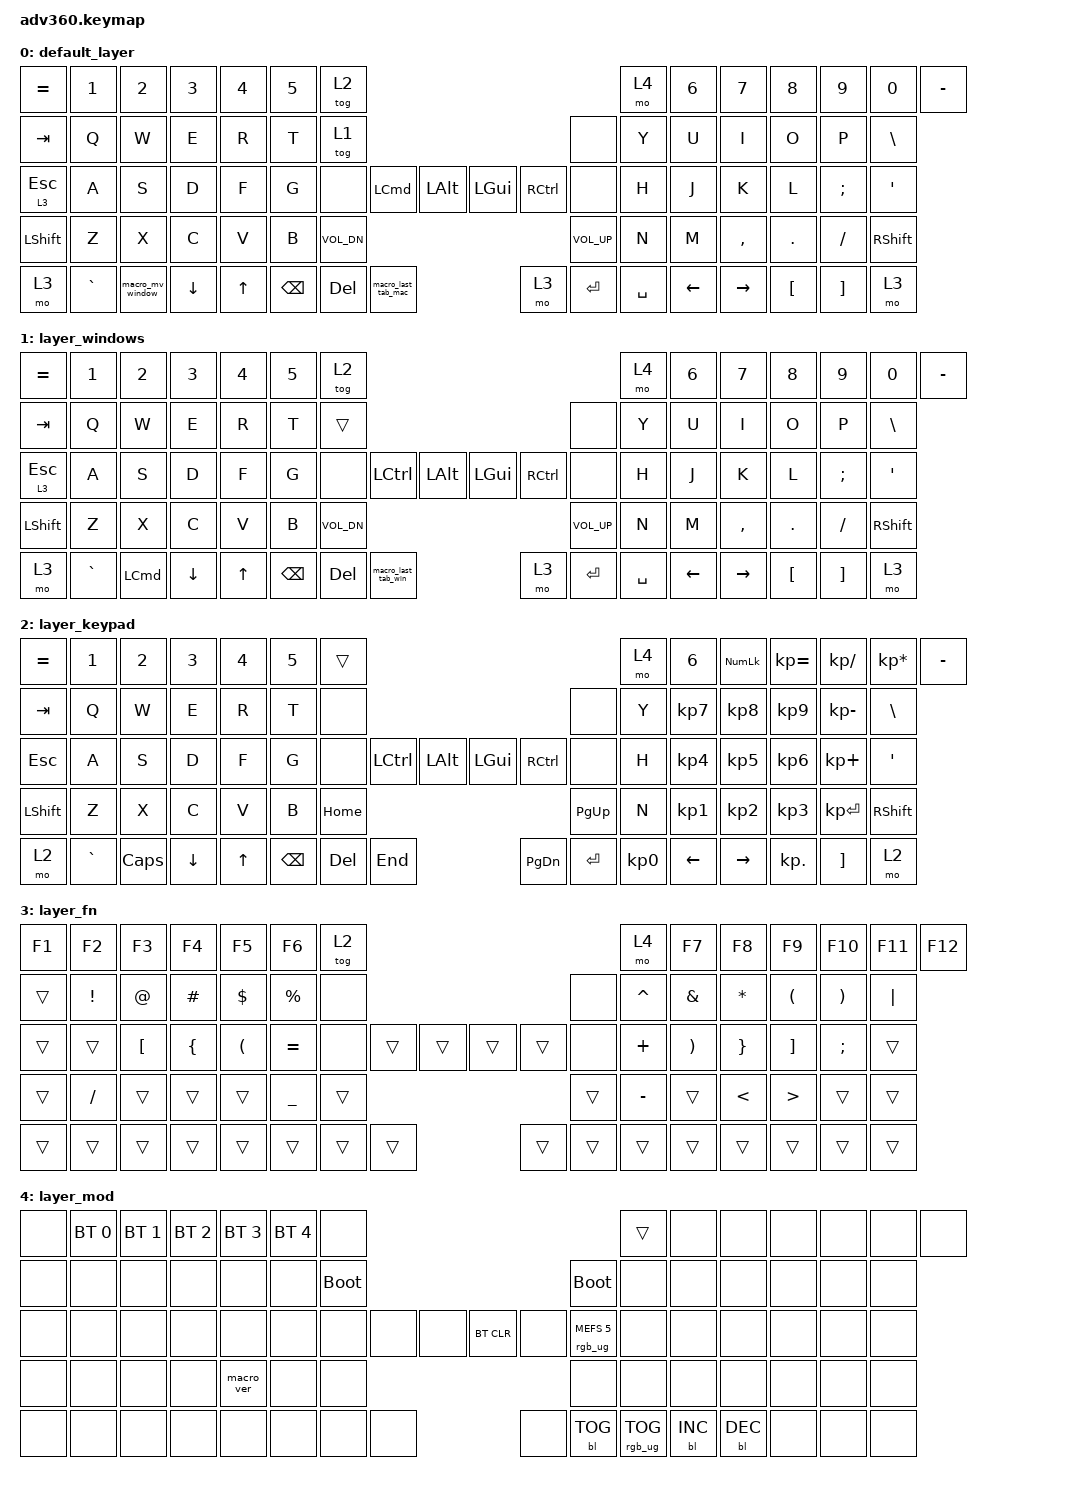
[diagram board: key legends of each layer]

/*
 * Copyright (c) 2020 The ZMK Contributors
 *
 * SPDX-License-Identifier: MIT
 */


/* THIS FILE WAS GENERATED!
 *
 * This file was generated automatically. You may or may not want to
 * edit it directly.
 */

#include <behaviors.dtsi>
#include <dt-bindings/zmk/keys.h>
#include <dt-bindings/zmk/bt.h>
#include <dt-bindings/zmk/rgb.h>
#include <dt-bindings/zmk/backlight.h>

/ {
  behaviors {
    #include "macros.dtsi"
    #include "version.dtsi"

    hm: homerow_mods {
        compatible = "zmk,behavior-hold-tap";
        label = "HOMEROW_MODS";
        #binding-cells = <2>;
        tapping-term-ms = <200>;
        quick_tap_ms = <175>;
        flavor = "tap-preferred";
        bindings = <&kp>, <&kp>;
    };
  };

    keymap {
        compatible = "zmk,keymap";


        default_layer {
            bindings = <
 &kp EQUAL     &kp N1            &kp N2    &kp N3  &kp N4  &kp N5              &tog 2                                                                              &mo 4  &kp N6    &kp N7     &kp N8    &kp N9    &kp N0  &kp MINUS
   &kp TAB      &kp Q             &kp W     &kp E   &kp R   &kp T              &tog 1                                                                              &none   &kp Y     &kp U      &kp I     &kp O     &kp P   &kp BSLH
 &lt 3 ESC      &kp A             &kp S     &kp D   &kp F   &kp G               &none  &kp LCMD             &kp LALT                      &kp LGUI  &kp RCTRL      &none   &kp H     &kp J      &kp K     &kp L  &kp SEMI    &kp SQT
 &kp LSHFT      &kp Z             &kp X     &kp C   &kp V   &kp B                                       &kp C_VOL_DN                  &kp C_VOL_UP                         &kp N     &kp M  &kp COMMA   &kp DOT  &kp FSLH  &kp RSHFT
     &mo 3  &kp GRAVE  &macro_mv_window  &kp DOWN  &kp UP                    &kp BSPC   &kp DEL  &macro_last_tab_mac                         &mo 3  &kp ENTER  &kp SPACE          &kp LEFT  &kp RIGHT  &kp LBKT  &kp RBKT      &mo 3
            >;
        };

        layer_windows {
            bindings = <
 &kp EQUAL     &kp N1            &kp N2    &kp N3  &kp N4  &kp N5              &tog 2                                                                               &mo 4  &kp N6    &kp N7     &kp N8    &kp N9    &kp N0  &kp MINUS
   &kp TAB      &kp Q             &kp W     &kp E   &kp R   &kp T              &trans                                                                               &none   &kp Y     &kp U      &kp I     &kp O     &kp P   &kp BSLH
 &lt 3 ESC      &kp A             &kp S     &kp D   &kp F   &kp G               &none  &kp LCTRL             &kp LALT                      &kp LGUI  &kp RCTRL      &none   &kp H     &kp J      &kp K     &kp L  &kp SEMI    &kp SQT
 &kp LSHFT      &kp Z             &kp X     &kp C   &kp V   &kp B                                        &kp C_VOL_DN                  &kp C_VOL_UP                         &kp N     &kp M  &kp COMMA   &kp DOT  &kp FSLH  &kp RSHFT
     &mo 3  &kp GRAVE  &kp LEFT_COMMAND  &kp DOWN  &kp UP                    &kp BSPC    &kp DEL  &macro_last_tab_win                         &mo 3  &kp ENTER  &kp SPACE          &kp LEFT  &kp RIGHT  &kp LBKT  &kp RBKT      &mo 3
            >;
        };

        layer_keypad {
            bindings = <
 &kp EQUAL     &kp N1    &kp N2    &kp N3  &kp N4  &kp N5              &trans                                                                 &mo 4  &kp N6  &kp KP_NUM  &kp KP_EQUAL  &kp KP_DIVIDE  &kp KP_MULTIPLY  &kp MINUS
   &kp TAB      &kp Q     &kp W     &kp E   &kp R   &kp T               &none                                                                 &none   &kp Y   &kp KP_N7     &kp KP_N8      &kp KP_N9     &kp KP_MINUS   &kp BSLH
   &kp ESC      &kp A     &kp S     &kp D   &kp F   &kp G               &none  &kp LCTRL  &kp LALT                   &kp LGUI  &kp RCTRL      &none   &kp H   &kp KP_N4     &kp KP_N5      &kp KP_N6      &kp KP_PLUS    &kp SQT
 &kp LSHFT      &kp Z     &kp X     &kp C   &kp V   &kp B                                 &kp HOME                  &kp PG_UP                         &kp N   &kp KP_N1     &kp KP_N2      &kp KP_N3     &kp KP_ENTER  &kp RSHFT
     &mo 2  &kp GRAVE  &kp CAPS  &kp DOWN  &kp UP                    &kp BSPC    &kp DEL   &kp END                  &kp PG_DN  &kp ENTER  &kp KP_N0            &kp LEFT     &kp RIGHT     &kp KP_DOT         &kp RBKT      &mo 2
            >;
        };

        layer_fn {
            bindings = <
 &kp F1     &kp F2            &kp F3          &kp F4                &kp F5     &kp F6            &tog 2                                                   &mo 4     &kp F7                 &kp F8           &kp F9               &kp F10                &kp F11   &kp F12
 &trans   &kp EXCL            &kp AT        &kp HASH              &kp DLLR  &kp PRCNT             &none                                                   &none  &kp CARET               &kp AMPS         &kp STAR  &kp LEFT_PARENTHESIS  &kp RIGHT_PARENTHESIS  &kp PIPE
 &trans     &trans  &kp LEFT_BRACKET  &kp LEFT_BRACE  &kp LEFT_PARENTHESIS  &kp EQUAL             &none  &trans  &trans                  &trans  &trans   &none   &kp PLUS  &kp RIGHT_PARENTHESIS  &kp RIGHT_BRACE     &kp RIGHT_BRACKET          &kp SEMICOLON    &trans
 &trans  &kp SLASH            &trans          &trans                &trans  &kp UNDER                            &trans                  &trans                  &kp MINUS                 &trans    &kp LESS_THAN      &kp GREATER_THAN                 &trans    &trans
 &trans     &trans            &trans          &trans                &trans                       &trans  &trans  &trans                  &trans  &trans  &trans                            &trans           &trans                &trans                 &trans    &trans
            >;
        };

        layer_mod {
            bindings = <
  &none  &bt BT_SEL 0  &bt BT_SEL 1  &bt BT_SEL 2  &bt BT_SEL 3  &bt BT_SEL 4                  &none                                                                          &trans   &none       &none       &none   &none   &none   &none
  &none         &none         &none         &none         &none         &none            &bootloader                                                                     &bootloader   &none       &none       &none   &none   &none   &none
  &none         &none         &none         &none         &none         &none                  &none   &none   &none                  &bt BT_CLR       &none  &rgb_ug RGB_MEFS_CMD 5   &none       &none       &none   &none   &none   &none
  &none         &none         &none         &none    &macro_ver         &none                                  &none                       &none                                       &none       &none       &none   &none   &none   &none
  &none         &none         &none         &none         &none                                &none   &none   &none                       &none  &bl BL_TOG         &rgb_ug RGB_TOG          &bl BL_INC  &bl BL_DEC   &none   &none   &none
            >;
        };

    };
};
